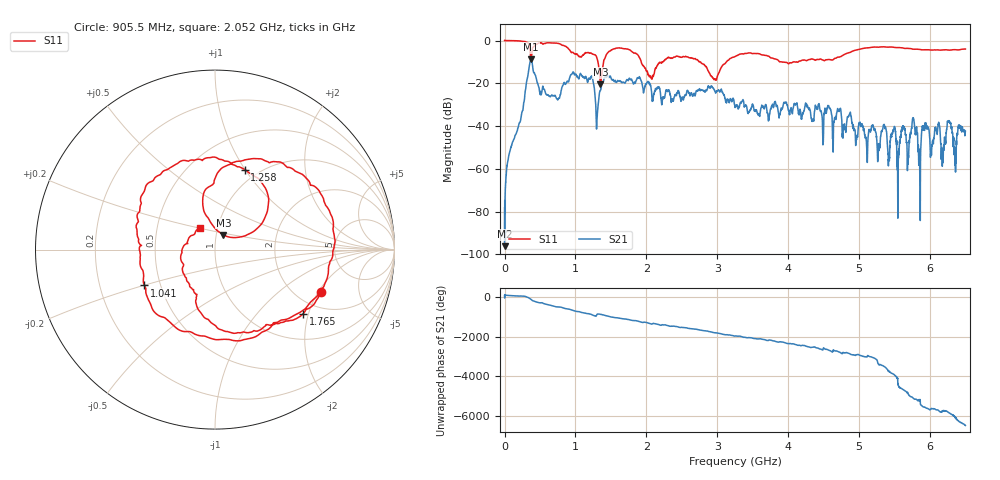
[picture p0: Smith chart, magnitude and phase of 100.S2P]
!Keysight Technologies,E5063A,MY54503115,A.05.08
!Date: Mon Dec 11 15:06:19 2023
!Data & Calibration Information:
!Freq	S11:NONE(--)	S21:NONE(--)	S12:NONE(--)	S22:NONE(--)
# Hz S dB R 50
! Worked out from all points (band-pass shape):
!   10001 points, 100 kHz to 6.5 GHz, reference 50 ohm
!   highest |S21| = -8.72 dB at 373.8 MHz (marker M1); lowest = -96.2 dB at 750 kHz (marker M2)
!   |S21| within 3 dB of the highest: 349.6 MHz to 394.3 MHz (44.69 MHz wide, 12 % of centre)
!   lowest |S11| = -20.5 dB at 1.353 GHz (marker M3), VSWR 1.21, Z = 54.2 + j8.95 ohm
!   |S11| at or under -10 dB: 1.928 GHz to 2.225 GHz (297.2 MHz wide, 14.3 % of centre); 2.763 GHz to 3.126 GHz (363.3 MHz wide, 12.3 % of centre); 3.911 GHz to 4.071 GHz (159.8 MHz wide, 4.01 % of centre) (the widest 3 of 9)
!   S12 and S22 are empty: the file has one direction only
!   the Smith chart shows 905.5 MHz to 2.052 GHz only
!   S11 on the Smith chart (normalised r, x): 905.5 MHz: 2.67, -2.08; 1.041 GHz: 0.41, -0.20; 1.258 GHz: 0.87, +1.00; 1.765 GHz: 1.63, -1.85; 2.052 GHz: 0.83, +0.20
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100000  0.05 -0.6  -78.22 67.8  -200.00 0.0  -200.00 0.0
749990  0.00 -0.6  -96.19 -56.0  -200.00 0.0  -200.00 0.0
6.119906e7  -0.01 -19.8  -53.41 74.8  -200.00 0.0  -200.00 0.0
2.301965e8  -0.21 -76.4  -36.07 46.3  -200.00 0.0  -200.00 0.0
3.738442e8  -8.94 -120.7  -8.72 -130.9  -200.00 0.0  -200.00 0.0
5.785911e8  -1.28 168.8  -24.88 -8.2  -200.00 0.0  -200.00 0.0
7.280888e8  -1.18 96.5  -26.84 -140.2  -200.00 0.0  -200.00 0.0
9.055361e8  -3.98 -21.7  -19.10 102.6  -200.00 0.0  -200.00 0.0
1.040734e9  -7.10 -153.1  -17.56 -26.6  -200.00 0.0  -200.00 0.0
1.083633e9  -7.64 176.6  -16.29 -62.3  -200.00 0.0  -200.00 0.0
1.258481e9  -6.45 69.6  -20.80 141.7  -200.00 0.0  -200.00 0.0
1.30333e9  -8.26 39.9  -37.23 -164.5  -200.00 0.0  -200.00 0.0
1.352729e9  -20.49 60.0  -23.33 -160.2  -200.00 0.0  -200.00 0.0
1.500927e9  -4.52 55.4  -17.59 65.6  -200.00 0.0  -200.00 0.0
1.764823e9  -4.33 -36.1  -17.73 -80.2  -200.00 0.0  -200.00 0.0
2.052118e9  -16.83 125.1  -20.85 92.4  -200.00 0.0  -200.00 0.0
2.167167e9  -10.77 48.8  -21.92 50.1  -200.00 0.0  -200.00 0.0
2.965354e9  -17.84 -53.5  -23.60 -12.3  -200.00 0.0  -200.00 0.0
3.25005e9  -7.46 -50.2  -30.97 -175.6  -200.00 0.0  -200.00 0.0
4.333583e9  -8.55 -129.6  -37.35 -29.2  -200.00 0.0  -200.00 0.0
5.417117e9  -3.07 163.0  -55.39 -156.1  -200.00 0.0  -200.00 0.0
6.5e9  -3.97 108.5  -42.47 -15.4  -200.00 0.0  -200.00 0.0
